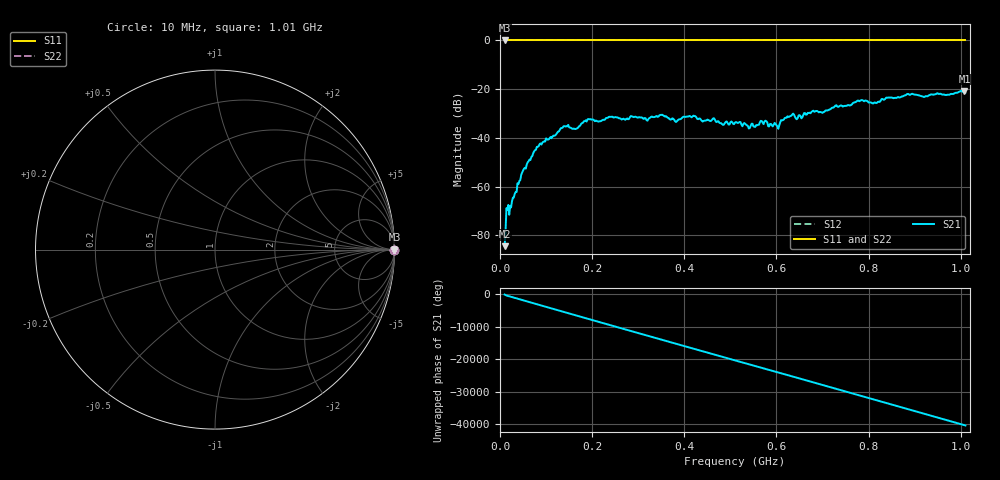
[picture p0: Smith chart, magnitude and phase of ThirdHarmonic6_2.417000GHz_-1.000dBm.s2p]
! 8/17/2025 4:05:50 AM
! C:\ANRITSUVNA\TEMP\TEMP.S2P
! CHANNEL.1
! TR.MEASUREMENT
! RAW.DATA
! RF.CORRECTION.OFF
! AVERAGING.OFF
! IF.BANDWIDTH: 5KHZ
! SWEEPTYPE:  FREQ.SWEEP(Linear)
! Reference Plane Port Info
! PORT:  PORT1  PORT2
! DISTANCE:  0  m  0  m
! TIME:  0  s  0  s
! PHASE.OFFSET:  0  deg.  0  deg.
! LOSS:  0  dB  0  dB
! REF.LOSS:  0  dB  0  dB
! REF.FREQ:  0  Hz  0  Hz
! Power Info
! POWER:  -20  dBm  -20  dBm
! EFF.POWER:  -20  dBm  -20  dBm
! SOURCE.ATTEN:  0  dB  0  dB
! TEST.ATTEN:  0  dB  0  dB
# GHZ S RI R 50.0
! FREQ.GHZ  S11RE  S11IM  S21RE  S21IM  S12RE  S12IM  S22RE  S22IM
!; PortSelection: Port_12
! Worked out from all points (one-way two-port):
!   501 points, 10 MHz to 1.01 GHz, reference 50 ohm
!   highest |S21| = -20.72 dB at 1.008 GHz (marker M1); lowest = -84.4 dB at 10 MHz (marker M2)
!   lowest |S11| = 0.0 dB at 10 MHz (marker M3)
!   |S11| at or under -10 dB: nowhere
!   |S22| runs from 0.0 to 0.0 dB; largest |S21 - S12| = 1.1
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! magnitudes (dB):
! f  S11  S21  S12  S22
! 10 MHz  0.0  -84.4  0.0  0.0
! 18 MHz  0.0  -67.5  0.0  0.0
! 24 MHz  0.0  -68.5  0.0  0.0
! 50 MHz  0.0  -53.4  0.0  0.0
! 78 MHz  0.0  -44.8  0.0  0.0
! 136 MHz  0.0  -35.8  0.0  0.0
! 164 MHz  0.0  -36.4  0.0  0.0
! 178 MHz  0.0  -33.9  0.0  0.0
! 240 MHz  0.0  -31.4  0.0  0.0
! 320 MHz  0.0  -32.9  0.0  0.0
! 344 MHz  0.0  -31.2  0.0  0.0
! 382 MHz  0.0  -33.5  0.0  0.0
! 422 MHz  0.0  -31.0  0.0  0.0
! 482 MHz  0.0  -34.4  0.0  0.0
! 510 MHz  0.0  -33.7  0.0  0.0
! 602 MHz  0.0  -35.3  0.0  0.0
! 634 MHz  0.0  -30.5  0.0  0.0
! 644 MHz  0.0  -32.3  0.0  0.0
! 678 MHz  0.0  -29.0  0.0  0.0
! 844 MHz  0.0  -23.4  0.0  0.0
! 1.008 GHz  0.0  -20.7  0.0  0.0
! 1.01 GHz  0.0  -21.4  0.0  0.0
